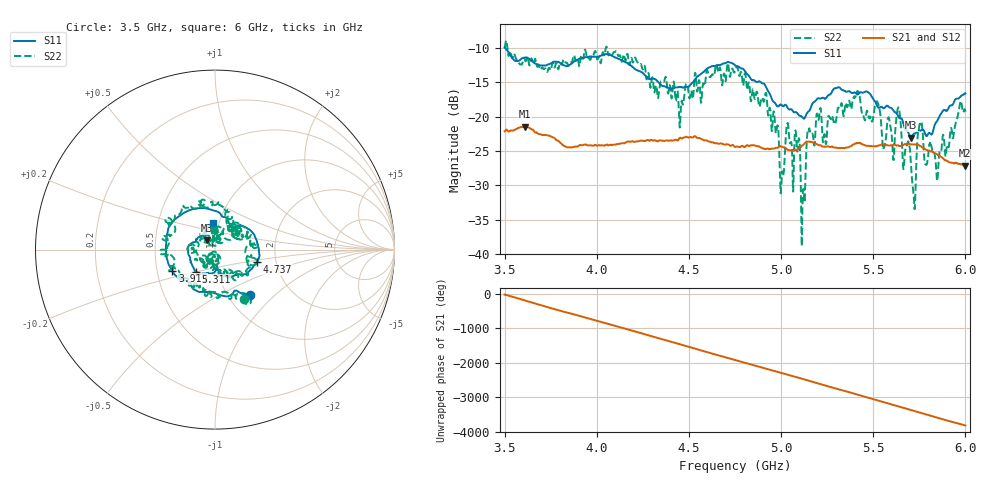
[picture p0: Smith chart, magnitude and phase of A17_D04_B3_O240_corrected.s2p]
! Created with skrf 1.9.0 (http://scikit-rf.org).
# Hz S RI R 50.0
!freq ReS11 ImS11 ReS21 ImS21 ReS12 ImS12 ReS22 ImS22
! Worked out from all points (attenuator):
!   1601 points, 3.5 GHz to 6 GHz, reference 50 ohm
!   highest |S21| = -21.45 dB at 3.611 GHz (marker M1); lowest = -27.1 dB at 5.998 GHz (marker M2)
!   lowest |S11| = -23.1 dB at 5.705 GHz (marker M3), VSWR 1.15, Z = 45.3 + j4.79 ohm
!   |S11| at or under -10 dB: 3.503 GHz to end of sweep
!   |S22| runs from -38.8 to -8.9 dB; largest |S21 - S12| = 0.001
!   S11 on the Smith chart (normalised r, x): 3.5 GHz: 1.26, -0.71; 3.919 GHz: 0.60, -0.15; 4.737 GHz: 1.59, -0.23; 5.311 GHz: 0.78, -0.20; 6 GHz: 0.94, +0.28
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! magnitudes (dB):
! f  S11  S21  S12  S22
! 3.5 GHz  -9.9  -22.1  -22.1  -10.0
! 3.611 GHz  -11.4  -21.4  -21.4  -11.8
! 3.917 GHz  -11.5  -24.1  -24.1  -11.1
! 3.919 GHz  -11.5  -24.1  -24.1  -11.1
! 4.334 GHz  -15.0  -23.5  -23.4  -17.1
! 4.737 GHz  -12.2  -24.1  -24.1  -13.0
! 4.75 GHz  -12.5  -24.4  -24.3  -13.4
! 4.914 GHz  -15.4  -24.7  -24.7  -16.7
! 5.005 GHz  -18.3  -24.4  -24.3  -28.4
! 5.033 GHz  -18.5  -24.8  -24.7  -21.0
! 5.088 GHz  -19.5  -24.8  -24.8  -25.1
! 5.119 GHz  -20.1  -24.1  -24.0  -30.8
! 5.167 GHz  -18.2  -23.7  -23.6  -22.5
! 5.311 GHz  -15.7  -24.6  -24.5  -18.7
! 5.584 GHz  -18.6  -24.2  -24.1  -20.1
! 5.638 GHz  -20.0  -24.2  -24.1  -18.6
! 5.705 GHz  -23.1  -24.0  -24.0  -27.0
! 5.722 GHz  -22.5  -24.0  -24.0  -32.4
! 5.755 GHz  -22.0  -24.3  -24.2  -20.9
! 5.847 GHz  -20.6  -25.5  -25.4  -29.3
! 5.998 GHz  -16.6  -27.1  -27.0  -19.1
! 6 GHz  -16.6  -27.1  -27.0  -19.3
